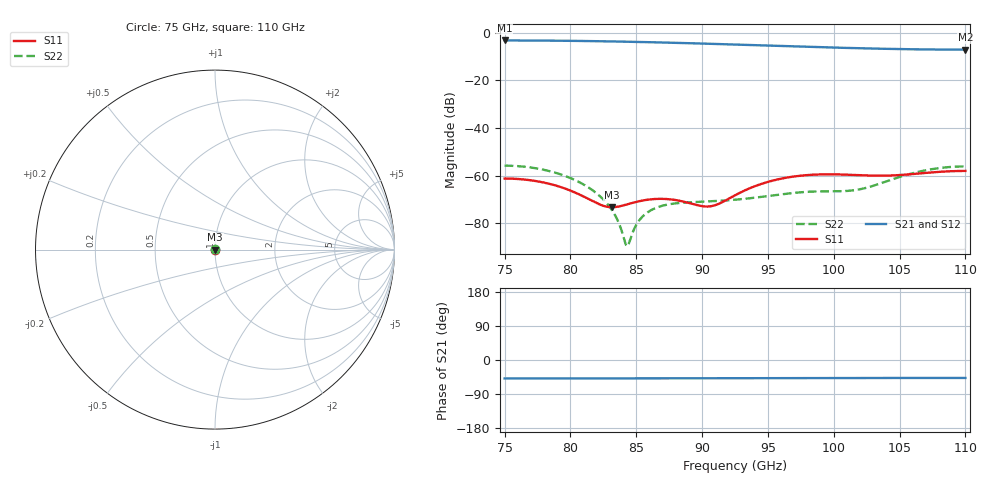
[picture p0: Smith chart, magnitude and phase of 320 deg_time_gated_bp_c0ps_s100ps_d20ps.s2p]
# Hz S RI R 50.000000
! Metas.Vna.Tools, 2.4.7724.19584
! Metas.Vna.Data, 2.4.7724.19560
! Created: UTC 2021.04.29 12:40:11
! FREQ  re:S1,1  im:S1,1  re:S2,1  im:S2,1  re:S1,2  im:S1,2  re:S2,2  im:S2,2
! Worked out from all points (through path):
!   1401 points, 75 GHz to 110 GHz, reference 50 ohm
!   highest |S21| = -3.29 dB at 75 GHz (marker M1); lowest = -7.1 dB at 110 GHz (marker M2)
!   lowest |S11| = -73.3 dB at 83.15 GHz (marker M3), VSWR 1.00, Z = 50 + j0.00803 ohm
!   |S11| at or under -10 dB: start of sweep to end of sweep
!   |S22| runs from -89.6 to -55.8 dB; largest |S21 - S12| = 0.036
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7.5e10  -0.000355 -0.00079  0.4511 -0.5153  0.4257 -0.5413  -0.00141 0.000778
7.66e10  -0.000353 -0.000741  0.4504 -0.5142  0.4251 -0.5402  -0.00133 0.000738
7.815e10  -0.000342 -0.000607  0.4483 -0.5113  0.4232 -0.537  -0.00113 0.00063
7.9575e10  -0.000322 -0.000429  0.4452 -0.5069  0.4206 -0.5324  -0.000857 0.000487
8.085e10  -0.000292 -0.000244  0.4416 -0.5017  0.4173 -0.527  -0.000594 0.000341
8.2175e10  -0.000246 -4.99e-05  0.4369 -0.4952  0.4133 -0.5201  -0.000334 0.000188
8.315e10  -0.000201 8.03e-05  0.4329 -0.4896  0.4098 -0.5142  -0.00017 8.29e-05
8.3775e10  -0.000168 0.000153  0.4301 -0.4858  0.4073 -0.5101  -8.3e-05 2.17e-05
8.49e10  -0.000102 0.000256  0.4246 -0.4783  0.4026 -0.5022  3.59e-05 -7.36e-05
8.5875e10  -3.84e-05 0.000309  0.4195 -0.4714  0.3982 -0.4947  9.8e-05 -0.000139
8.6675e10  1.52e-05 0.000324  0.415 -0.4654  0.3943 -0.4883  0.000123 -0.000181
8.8025e10  0.000103 0.000287  0.407 -0.4548  0.3873 -0.4768  0.000122 -0.000231
9.045e10  0.000221 3.85e-05  0.3914 -0.4345  0.3739 -0.4548  5.95e-05 -0.000279
9.1225e10  0.00024 -7.99e-05  0.3862 -0.4279  0.3694 -0.4475  4.16e-05 -0.00029
9.25e10  0.000244 -0.000297  0.3775 -0.4169  0.3619 -0.4354  2.81e-05 -0.00031
9.3825e10  0.000211 -0.000531  0.3683 -0.4056  0.354 -0.4228  3.89e-05 -0.000337
9.52e10  0.000134 -0.000751  0.3589 -0.394  0.3459 -0.4099  6.95e-05 -0.000372
9.835e10  -0.000181 -0.00102  0.3382 -0.3694  0.3282 -0.3822  9.51e-05 -0.000451
1.01625e11  -0.000605 -0.000829  0.3196 -0.348  0.3125 -0.3578  -0.000198 -0.000454
1.04175e11  -0.000906 -0.000421  0.3085 -0.3355  0.303 -0.3433  -0.00069 -0.000376
1.07125e11  -0.00114 5.99e-05  0.3002 -0.3262  0.296 -0.3326  -0.00129 -0.000254
1.1e11  -0.00122 0.000257  0.2974 -0.3232  0.2937 -0.329  -0.00154 -0.000199
